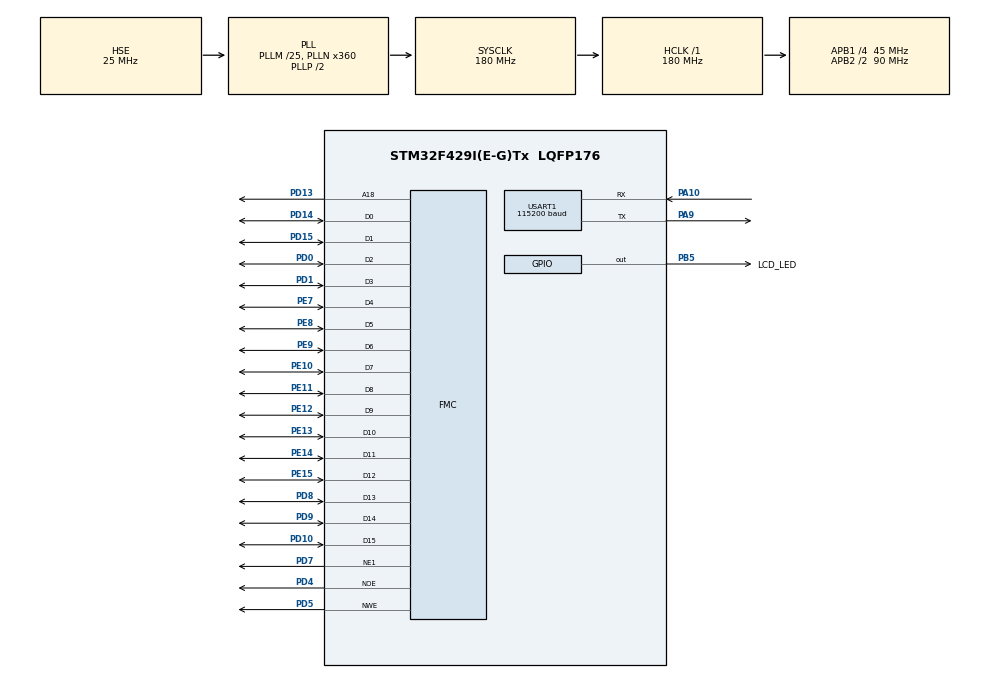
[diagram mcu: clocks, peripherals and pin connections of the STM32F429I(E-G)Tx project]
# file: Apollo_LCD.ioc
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FMC.DataSetupTime1=70
FMC.ExtendedMode1=FMC_EXTENDED_MODE_ENABLE
FMC.WriteDataSetupTime1=15
Mcu.Family=STM32F4
Mcu.Name=STM32F429I(E-G)Tx
Mcu.Package=LQFP176
NVIC.PriorityGroup=NVIC_PRIORITYGROUP_4
NVIC.USART1_IRQn=true\:5\:0\:false\:false\:true\:true\:true\:true
PA10.GPIO_Mode=GPIO_MODE_AF_PP
PA10.GPIO_PuPd=GPIO_NOPULL
PA10.GPIO_Speed=GPIO_SPEED_FREQ_VERY_HIGH
PA10.Mode=Asynchronous
PA10.Signal=USART1_RX
PA13.Mode=Serial_Wire
PA13.Signal=SYS_JTMS-SWDIO
PA14.Mode=Serial_Wire
PA14.Signal=SYS_JTCK-SWCLK
PA9.GPIO_Mode=GPIO_MODE_AF_PP
PA9.GPIO_PuPd=GPIO_NOPULL
PA9.GPIO_Speed=GPIO_SPEED_FREQ_VERY_HIGH
PA9.Mode=Asynchronous
PA9.Signal=USART1_TX
PB5.GPIO_Label=LCD_LED
PB5.GPIO_Mode=GPIO_MODE_OUTPUT_PP
PB5.GPIO_PuPd=GPIO_PULLUP
PB5.GPIO_Speed=GPIO_SPEED_FREQ_HIGH
PB5.PinState=GPIO_PIN_RESET
PB5.Signal=GPIO_Output
PD0.Signal=FMC_D2_DA2
PD1.Signal=FMC_D3_DA3
PD10.Signal=FMC_D15_DA15
PD13.Signal=FMC_A18
PD14.Signal=FMC_D0_DA0
PD15.Signal=FMC_D1_DA1
PD4.Signal=FMC_NOE
PD5.Signal=FMC_NWE
PD7.Mode=NorPsramChipSelect1_1
PD7.Signal=FMC_NE1
PD8.Signal=FMC_D13_DA13
PD9.Signal=FMC_D14_DA14
PE10.Signal=FMC_D7_DA7
PE11.Signal=FMC_D8_DA8
PE12.Signal=FMC_D9_DA9
PE13.Signal=FMC_D10_DA10
PE14.Signal=FMC_D11_DA11
PE15.Signal=FMC_D12_DA12
PE7.Signal=FMC_D4_DA4
PE8.Signal=FMC_D5_DA5
PE9.Signal=FMC_D6_DA6
PH0/OSC_IN.Mode=HSE-External-Oscillator
PH0/OSC_IN.Signal=RCC_OSC_IN
PH1/OSC_OUT.Mode=HSE-External-Oscillator
PH1/OSC_OUT.Signal=RCC_OSC_OUT
ProjectManager.HeapSize=0x200
ProjectManager.StackSize=0x400
ProjectManager.TargetToolchain=STM32CubeIDE
RCC.48MHZClocksFreq_Value=45000000
RCC.AHBFreq_Value=180000000
RCC.APB1CLKDivider=RCC_HCLK_DIV4
RCC.APB1Freq_Value=45000000
RCC.APB1TimFreq_Value=90000000
RCC.APB2CLKDivider=RCC_HCLK_DIV2
RCC.APB2Freq_Value=90000000
RCC.APB2TimFreq_Value=180000000
RCC.CortexFreq_Value=180000000
RCC.HCLKFreq_Value=180000000
RCC.HSE_VALUE=25000000
RCC.HSI_VALUE=16000000
RCC.LSE_VALUE=32768
RCC.PLLM=25
RCC.PLLN=360
RCC.PLLQ=8
RCC.PLLSourceVirtual=RCC_PLLSOURCE_HSE
RCC.SYSCLKFreq_VALUE=180000000
RCC.SYSCLKSource=RCC_SYSCLKSOURCE_PLLCLK
RCC.VCOOutputFreq_Value=360000000
SH.FMC_A18.0=FMC_A18,A18_1
SH.FMC_D0_DA0.0=FMC_D0,16b-d1
SH.FMC_D10_DA10.0=FMC_D10,16b-d1
SH.FMC_D11_DA11.0=FMC_D11,16b-d1
SH.FMC_D12_DA12.0=FMC_D12,16b-d1
SH.FMC_D13_DA13.0=FMC_D13,16b-d1
SH.FMC_D14_DA14.0=FMC_D14,16b-d1
SH.FMC_D15_DA15.0=FMC_D15,16b-d1
SH.FMC_D1_DA1.0=FMC_D1,16b-d1
SH.FMC_D2_DA2.0=FMC_D2,16b-d1
SH.FMC_D3_DA3.0=FMC_D3,16b-d1
SH.FMC_D4_DA4.0=FMC_D4,16b-d1
SH.FMC_D5_DA5.0=FMC_D5,16b-d1
SH.FMC_D6_DA6.0=FMC_D6,16b-d1
SH.FMC_D7_DA7.0=FMC_D7,16b-d1
SH.FMC_D8_DA8.0=FMC_D8,16b-d1
SH.FMC_D9_DA9.0=FMC_D9,16b-d1
SH.FMC_NOE.0=FMC_NOE,Lcd1
SH.FMC_NWE.0=FMC_NWE,Lcd1
USART1.BaudRate=115200
USART1.VirtualMode=VM_ASYNC
board=custom

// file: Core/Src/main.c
/* USER CODE BEGIN Header */
/**
  ******************************************************************************
  * @file           : main.c
  * @brief          : Main program body
  ******************************************************************************
  * @attention
  *
  * Copyright (c) 2026 STMicroelectronics.
  * All rights reserved.
  *
  * This software is licensed under terms that can be found in the LICENSE file
  * in the root directory of this software component.
  * If no LICENSE file comes with this software, it is provided AS-IS.
  *
  ******************************************************************************
  */
/* USER CODE END Header */
#include "main.h"
#include "usart.h"
#include "gpio.h"
#include "fmc.h"
#include "lcd.h"
#include "waveform.h"
#include "touch.h"

/*
 * 应用启动顺序：HAL/时钟 -> GPIO/串口/FMC -> LCD -> 触摸 -> 示波器界面。
 * FMC 必须先初始化，否则访问 LCD 映射地址会触发总线错误。
 */

/* USER CODE BEGIN PV */

static FPGA_UART_Frame fpgaFrame;

/* USER CODE END PV */

void SystemClock_Config(void);
/* USER CODE BEGIN PFP */
static void LCD_ReportStatus(void);

/* USER CODE END PFP */

int main(void)
{

  /* MCU Configuration--------------------------------------------------------*/

  /* Reset of all peripherals, Initializes the Flash interface and the Systick. */
  /* 初始化 HAL、SysTick 和 Flash 接口；这是所有 HAL 外设的前置步骤。 */
  HAL_Init();

  /* Configure the system clock */
  /* 使用外部 25 MHz 晶振配置 180 MHz 系统时钟。 */
  SystemClock_Config();

  /* Initialize all configured peripherals */
  /* 先关闭背光，再初始化总线和 LCD，避免上电白屏闪烁。 */
  MX_GPIO_Init();
  MX_USART1_UART_Init();
  MX_FMC_Init();
  /* USER CODE BEGIN 2 */
  /* FMC 已就绪后才能访问 0x6007FFFE / 0x6007FFFF 的 LCD 命令和数据地址。 */
  LCD_Init();
  LCD_ReportStatus();
  /* 上电显示静态波形界面，避免在主循环反复整屏刷新而造成闪烁。 */
  /* 触摸初始化失败时仍显示波形，右侧状态栏会提示 NOT FOUND。 */
  Waveform_Init(Touch_Init());
  if (FPGA_UART_Start() != HAL_OK)
  {
    Error_Handler();
  }

  /* USER CODE END 2 */

  /* Infinite loop */
  while (1)
  {

    /* USER CODE BEGIN 3 */
    static uint32_t lastFrameTick;
    static uint32_t lastTouchPollTick;
    static uint32_t lastStatsTick;
    static uint32_t lastTouchRetryTick;
    static uint8_t touchWasDown;
    static uint8_t touchReleaseCount;
    FPGA_UART_Stats uartStats;
    uint16_t touchX;
    uint16_t touchY;
    uint8_t touchIsDown;

    FPGA_UART_Process();
    if (FPGA_UART_TakeLatest(&fpgaFrame) != 0U)
    {
      Waveform_SubmitFrame(fpgaFrame.samples, fpgaFrame.frequency_hz,
                           fpgaFrame.sample_div, fpgaFrame.period_cycles,
                           fpgaFrame.flags,
                           fpgaFrame.sequence);
    }

    if (Touch_GetController() == TOUCH_CONTROLLER_NONE &&
        (HAL_GetTick() - lastTouchRetryTick) >= 500U)
    {
      lastTouchRetryTick = HAL_GetTick();
      touchWasDown = 0U;
      touchReleaseCount = 0U;
      Waveform_SetTouchAvailable(0U);
      if (Touch_Reconnect() != 0U)
      {
        Waveform_SetTouchAvailable(1U);
      }
    }

    /* 每 10 ms 轮询触摸，只在“释放 -> 按下”边沿执行一次操作。 */
    if ((HAL_GetTick() - lastTouchPollTick) >= 10U)
    {
      lastTouchPollTick = HAL_GetTick();
      touchIsDown = Touch_Read(&touchX, &touchY);
      if (touchIsDown != 0U && touchWasDown == 0U)
      {
        Waveform_ShowTouch(touchX, touchY);
        Waveform_HandleTouch(touchX, touchY);
      }
      if (touchIsDown != 0U)
      {
        touchWasDown = 1U;
        touchReleaseCount = 0U;
      }
      else if (touchWasDown != 0U)
      {
        if (++touchReleaseCount >= 3U)
        {
          touchWasDown = 0U;
          touchReleaseCount = 0U;
        }
      }
    }

    /* 每 40 ms 刷新一次，约 25 FPS；局部重绘避免整屏闪烁。 */
    if ((HAL_GetTick() - lastFrameTick) >= 40U)
    {
      Waveform_Update();
      lastFrameTick = HAL_GetTick();
    }
    if ((HAL_GetTick() - lastStatsTick) >= 250U)
    {
      lastStatsTick = HAL_GetTick();
      FPGA_UART_GetStats(&uartStats);
      Waveform_SetLinkStats(uartStats.bytes_received, uartStats.valid_frames,
                            uartStats.crc_errors + uartStats.format_errors +
                            uartStats.ring_overflows + uartStats.uart_errors +
                            uartStats.sequence_errors);
    }
    HAL_Delay(2U);
  }
  /* USER CODE END 3 */
}

void SystemClock_Config(void)
{
  /* HSE=25 MHz，PLL 后 SYSCLK=180 MHz，APB1=45 MHz，APB2=90 MHz。 */
  RCC_OscInitTypeDef RCC_OscInitStruct = {0};
  RCC_ClkInitTypeDef RCC_ClkInitStruct = {0};

  /** Configure the main internal regulator output voltage
  */
  __HAL_RCC_PWR_CLK_ENABLE();
  __HAL_PWR_VOLTAGESCALING_CONFIG(PWR_REGULATOR_VOLTAGE_SCALE1);

  /** Initializes the RCC Oscillators according to the specified parameters
  * in the RCC_OscInitTypeDef structure.
  */
  RCC_OscInitStruct.OscillatorType = RCC_OSCILLATORTYPE_HSE;
  RCC_OscInitStruct.HSEState = RCC_HSE_ON;
  RCC_OscInitStruct.PLL.PLLState = RCC_PLL_ON;
  RCC_OscInitStruct.PLL.PLLSource = RCC_PLLSOURCE_HSE;
  /* 板载 HSE 为 25 MHz：25 / 25 * 360 / 2 = 180 MHz。 */
  RCC_OscInitStruct.PLL.PLLM = 25;
  RCC_OscInitStruct.PLL.PLLN = 360;
  RCC_OscInitStruct.PLL.PLLP = RCC_PLLP_DIV2;
  RCC_OscInitStruct.PLL.PLLQ = 8;
  if (HAL_RCC_OscConfig(&RCC_OscInitStruct) != HAL_OK)
  {
    Error_Handler();
  }

  /** Activate the Over-Drive mode
  */
  if (HAL_PWREx_EnableOverDrive() != HAL_OK)
  {
    Error_Handler();
  }

  /** Initializes the CPU, AHB and APB buses clocks
  */
  RCC_ClkInitStruct.ClockType = RCC_CLOCKTYPE_HCLK|RCC_CLOCKTYPE_SYSCLK
                              |RCC_CLOCKTYPE_PCLK1|RCC_CLOCKTYPE_PCLK2;
  RCC_ClkInitStruct.SYSCLKSource = RCC_SYSCLKSOURCE_PLLCLK;
  RCC_ClkInitStruct.AHBCLKDivider = RCC_SYSCLK_DIV1;
  RCC_ClkInitStruct.APB1CLKDivider = RCC_HCLK_DIV4;
  RCC_ClkInitStruct.APB2CLKDivider = RCC_HCLK_DIV2;

  if (HAL_RCC_ClockConfig(&RCC_ClkInitStruct, FLASH_LATENCY_5) != HAL_OK)
  {
    Error_Handler();
  }
}

/* USER CODE BEGIN 4 */

static void LCD_ReportStatus(void)
{
  /* 通过串口输出控制器 ID，便于区分 NT35510、SSD1963、ILI9806 等型号。 */
  static const char hex[] = "0123456789ABCDEF";
  /* 串口用于确认控制器 ID；显示异常时首先检查这里是否为支持的 ID。 */
  uint16_t id = LCD_GetID();
  uint8_t message[] = "LCD ID: 0x0000, status: UNKNOWN\r\n";

  message[10] = (uint8_t)hex[(id >> 12) & 0x0FU];
  message[11] = (uint8_t)hex[(id >> 8) & 0x0FU];
  message[12] = (uint8_t)hex[(id >> 4) & 0x0FU];
  message[13] = (uint8_t)hex[id & 0x0FU];
  if (LCD_IsSupported() != 0U)
  {
    message[24] = 'O';
    message[25] = 'K';
    message[26] = ' ';
    message[27] = ' ';
    message[28] = ' ';
    message[29] = ' ';
    message[30] = ' ';
  }
  HAL_UART_Transmit(&huart1, message, sizeof(message) - 1U, HAL_MAX_DELAY);
}

/* USER CODE END 4 */

void Error_Handler(void)
{
  /* 初始化失败时关闭中断并停机，便于调试器定位故障位置。 */
  __disable_irq();
  while (1)
  {
  }
}
